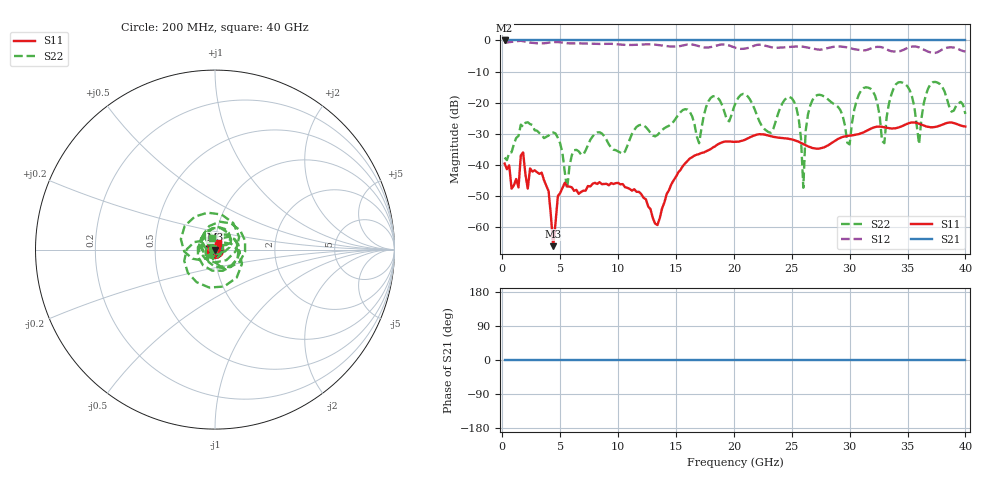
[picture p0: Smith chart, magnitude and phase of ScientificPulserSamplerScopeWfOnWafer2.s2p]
# MHz MA S R 50.0
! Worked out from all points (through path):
!   200 points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, 200 MHz to 40 GHz, reference 50 ohm
!   highest |S21| = 0.00 dB at 200 MHz (marker M1); lowest = 0.0 dB at 200 MHz (marker M2)
!   lowest |S11| = -66.2 dB at 4.4 GHz (marker M3), VSWR 1.00, Z = 50 + j0.0426 ohm
!   |S11| at or under -10 dB: start of sweep to end of sweep
!   |S22| runs from -47.8 to -13.3 dB; largest |S21 - S12| = 1.9
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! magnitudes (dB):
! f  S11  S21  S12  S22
! 200 MHz  -39.6  0.0  -0.4  -37.7
! 3.4 GHz  -42.5  0.0  -1.0  -30.3
! 4.4 GHz  -66.2  0.0  -0.5  -29.6
! 4.8 GHz  -50.1  0.0  -0.5  -31.3
! 5.6 GHz  -46.9  0.0  -0.9  -47.8
! 7 GHz  -48.3  0.0  -1.0  -36.7
! 13.6 GHz  -57.2  0.0  -1.5  -29.6
! 20.2 GHz  -32.6  0.0  -2.4  -19.7
! 23.2 GHz  -30.8  0.0  -2.2  -29.7
! 25 GHz  -31.8  0.0  -2.0  -18.5
! 25.6 GHz  -32.6  0.0  -1.9  -25.1
! 26 GHz  -33.3  0.0  -2.0  -47.4
! 26.2 GHz  -33.7  0.0  -2.2  -29.1
! 26.8 GHz  -34.6  0.0  -2.6  -19.1
! 30 GHz  -30.6  0.0  -2.4  -33.4
! 31 GHz  -29.9  0.0  -3.1  -16.0
! 33 GHz  -27.9  0.0  -2.5  -33.0
! 33.4 GHz  -28.2  0.0  -3.2  -20.3
! 35 GHz  -26.8  0.0  -2.4  -14.8
! 36 GHz  -26.8  0.0  -2.2  -33.4
! 37.2 GHz  -27.9  0.0  -4.0  -13.4
! 40 GHz  -27.7  0.0  -3.6  -23.6
